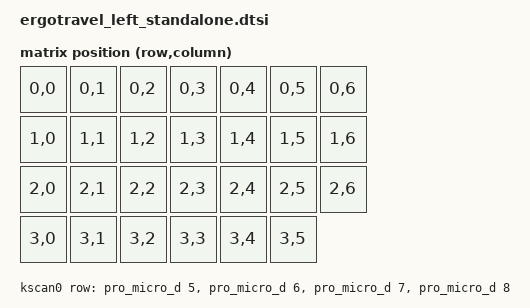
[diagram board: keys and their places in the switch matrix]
/*
 * Copyright (c) 2020 Pete Johanson
 *
 * SPDX-License-Identifier: MIT
 */

#include <dt-bindings/zmk/matrix_transform.h>

/ {
	chosen {
		zmk,kscan = &kscan0;
		zmk,matrix_transform = &default_transform;
	};

	default_transform: keymap_transform_0 {
		compatible = "zmk,matrix-transform";
		columns = <7>;
		rows = <4>;
// | MX6  | MX5  | MX4  | MX3  | MX2  | MX1  |
// | MX12 | MX11 | MX10 | MX9  | MX8  | MX7  |
// | MX20 | MX19 | MX18 | MX17 | MX16 | MX15 | MX14 | MX13 |
//                    | MX25 | MX24 | MX23 | MX22 | MX21 |
		map = <
RC(0,0) RC(0,1) RC(0,2) RC(0,3) RC(0,4) RC(0,5) RC(0,6)
RC(1,0) RC(1,1) RC(1,2) RC(1,3) RC(1,4) RC(1,5) RC(1,6)
RC(2,0) RC(2,1) RC(2,2) RC(2,3) RC(2,4) RC(2,5) RC(2,6)
RC(3,0) RC(3,1) RC(3,2) RC(3,3) RC(3,4) RC(3,5)
		>;
	};

	kscan0: kscan {
		compatible = "zmk,kscan-gpio-matrix";
		label = "KSCAN";

		diode-direction = "col2row";
		row-gpios
    = <&pro_micro_d 5 (GPIO_ACTIVE_HIGH | GPIO_PULL_DOWN)>
    , <&pro_micro_d 6 (GPIO_ACTIVE_HIGH | GPIO_PULL_DOWN)>
    , <&pro_micro_d 7 (GPIO_ACTIVE_HIGH | GPIO_PULL_DOWN)>
    , <&pro_micro_d 8 (GPIO_ACTIVE_HIGH | GPIO_PULL_DOWN)>
			;

	};

};
